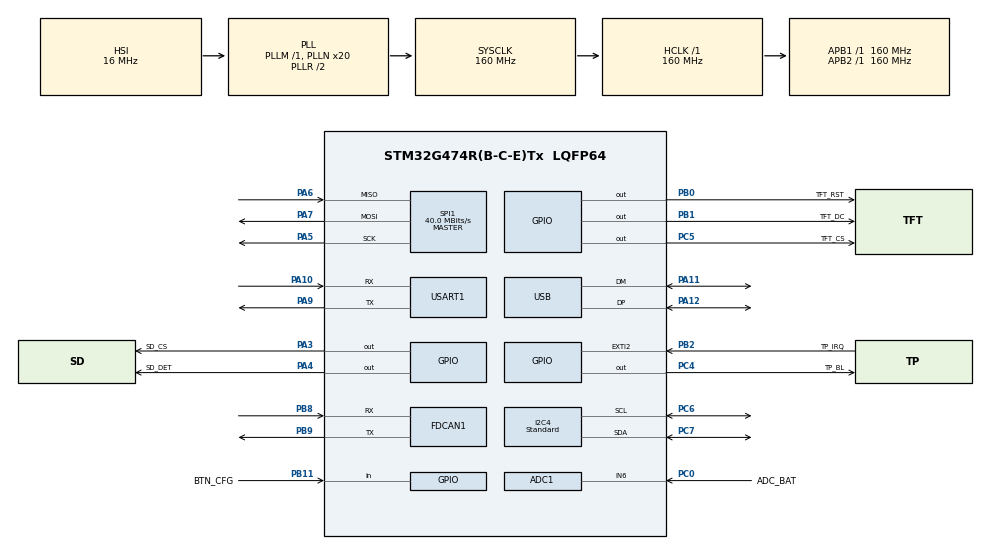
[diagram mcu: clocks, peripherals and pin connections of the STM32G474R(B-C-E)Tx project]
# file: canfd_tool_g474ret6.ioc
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ADC1.Channel-1\#ChannelRegularConversion=ADC_CHANNEL_6
ADC1.ClockPrescaler=ADC_CLOCK_SYNC_PCLK_DIV4
ADC1.NbrOfConversionFlag=1
ADC1.OffsetNumber-1\#ChannelRegularConversion=ADC_OFFSET_NONE
ADC1.Rank-1\#ChannelRegularConversion=1
ADC1.SamplingTime-1\#ChannelRegularConversion=ADC_SAMPLETIME_92CYCLES_5
ADC1.master=1
Dma.I2C4_RX.1.Direction=DMA_PERIPH_TO_MEMORY
Dma.I2C4_RX.1.EventEnable=DISABLE
Dma.I2C4_RX.1.Instance=DMA1_Channel2
Dma.I2C4_RX.1.MemDataAlignment=DMA_MDATAALIGN_BYTE
Dma.I2C4_RX.1.MemInc=DMA_MINC_ENABLE
Dma.I2C4_RX.1.Mode=DMA_NORMAL
Dma.I2C4_RX.1.PeriphDataAlignment=DMA_PDATAALIGN_BYTE
Dma.I2C4_RX.1.PeriphInc=DMA_PINC_DISABLE
Dma.I2C4_RX.1.Polarity=HAL_DMAMUX_REQ_GEN_RISING
Dma.I2C4_RX.1.Priority=DMA_PRIORITY_LOW
Dma.I2C4_RX.1.RequestNumber=1
Dma.I2C4_RX.1.SignalID=NONE
Dma.I2C4_RX.1.SyncEnable=DISABLE
Dma.I2C4_RX.1.SyncPolarity=HAL_DMAMUX_SYNC_NO_EVENT
Dma.I2C4_RX.1.SyncRequestNumber=1
Dma.I2C4_RX.1.SyncSignalID=NONE
Dma.I2C4_TX.2.Direction=DMA_MEMORY_TO_PERIPH
Dma.I2C4_TX.2.EventEnable=DISABLE
Dma.I2C4_TX.2.Instance=DMA1_Channel3
Dma.I2C4_TX.2.MemDataAlignment=DMA_MDATAALIGN_BYTE
Dma.I2C4_TX.2.MemInc=DMA_MINC_ENABLE
Dma.I2C4_TX.2.Mode=DMA_NORMAL
Dma.I2C4_TX.2.PeriphDataAlignment=DMA_PDATAALIGN_BYTE
Dma.I2C4_TX.2.PeriphInc=DMA_PINC_DISABLE
Dma.I2C4_TX.2.Polarity=HAL_DMAMUX_REQ_GEN_RISING
Dma.I2C4_TX.2.Priority=DMA_PRIORITY_VERY_HIGH
Dma.I2C4_TX.2.RequestNumber=1
Dma.I2C4_TX.2.SignalID=NONE
Dma.I2C4_TX.2.SyncEnable=DISABLE
Dma.I2C4_TX.2.SyncPolarity=HAL_DMAMUX_SYNC_NO_EVENT
Dma.I2C4_TX.2.SyncRequestNumber=1
Dma.I2C4_TX.2.SyncSignalID=NONE
Dma.Request0=SPI1_TX
Dma.Request1=I2C4_RX
Dma.Request2=I2C4_TX
Dma.SPI1_TX.0.Direction=DMA_MEMORY_TO_PERIPH
Dma.SPI1_TX.0.EventEnable=DISABLE
Dma.SPI1_TX.0.Instance=DMA1_Channel1
Dma.SPI1_TX.0.MemDataAlignment=DMA_MDATAALIGN_HALFWORD
Dma.SPI1_TX.0.MemInc=DMA_MINC_ENABLE
Dma.SPI1_TX.0.Mode=DMA_NORMAL
Dma.SPI1_TX.0.PeriphDataAlignment=DMA_PDATAALIGN_HALFWORD
Dma.SPI1_TX.0.PeriphInc=DMA_PINC_DISABLE
Dma.SPI1_TX.0.Polarity=HAL_DMAMUX_REQ_GEN_RISING
Dma.SPI1_TX.0.Priority=DMA_PRIORITY_VERY_HIGH
Dma.SPI1_TX.0.RequestNumber=1
Dma.SPI1_TX.0.SignalID=NONE
Dma.SPI1_TX.0.SyncEnable=DISABLE
Dma.SPI1_TX.0.SyncPolarity=HAL_DMAMUX_SYNC_NO_EVENT
Dma.SPI1_TX.0.SyncRequestNumber=1
Dma.SPI1_TX.0.SyncSignalID=NONE
FDCAN1.CalculateBaudRateNominal=500000
FDCAN1.CalculateTimeBitNominal=2000
FDCAN1.CalculateTimeQuantumNominal=125.0
FDCAN1.ClockDivider=FDCAN_CLOCK_DIV1
FDCAN1.DataSyncJumpWidth=1
FDCAN1.DataTimeSeg1=1
FDCAN1.ExtFiltersNbr=2
FDCAN1.FrameFormat=FDCAN_FRAME_CLASSIC
FDCAN1.NominalPrescaler=20
FDCAN1.NominalSyncJumpWidth=16
FDCAN1.NominalTimeSeg1=13
FDCAN1.NominalTimeSeg2=2
FDCAN1.StdFiltersNbr=2
I2C4.Analog_Filter=I2C_ANALOGFILTER_ENABLE
I2C4.CustomTiming=Disabled
I2C4.I2C_Fall_Time=100
I2C4.I2C_Rise_Time=100
I2C4.I2C_Speed_Mode=I2C_Standard
I2C4.Speed=100
I2C4.Timing=0x30D29DE4
Mcu.Family=STM32G4
Mcu.Name=STM32G474R(B-C-E)Tx
Mcu.Package=LQFP64
NVIC.DMA1_Channel1_IRQn=true\:0\:0\:false\:false\:true\:false\:true\:true
NVIC.DMA1_Channel2_IRQn=true\:0\:0\:false\:false\:true\:false\:true\:true
NVIC.DMA1_Channel3_IRQn=true\:0\:0\:false\:false\:true\:false\:true\:true
NVIC.EXTI2_IRQn=true\:0\:0\:false\:false\:true\:true\:true\:true
NVIC.FDCAN1_IT0_IRQn=true\:1\:0\:true\:false\:true\:true\:true\:true
NVIC.FDCAN1_IT1_IRQn=true\:0\:0\:false\:false\:true\:true\:true\:true
NVIC.I2C4_ER_IRQn=true\:0\:0\:false\:false\:true\:true\:true\:true
NVIC.I2C4_EV_IRQn=true\:0\:0\:false\:false\:true\:true\:true\:true
NVIC.PriorityGroup=NVIC_PRIORITYGROUP_4
NVIC.SPI1_IRQn=true\:0\:0\:true\:false\:true\:true\:true\:true
NVIC.USB_LP_IRQn=true\:0\:0\:false\:false\:true\:false\:true\:true
PA10.Mode=Asynchronous
PA10.Signal=USART1_RX
PA11.Mode=Device
PA11.Signal=USB_DM
PA12.Mode=Device
PA12.Signal=USB_DP
PA13.Signal=SYS_JTMS-SWDIO
PA14.Signal=SYS_JTCK-SWCLK
PA3.GPIO_Label=SD_CS
PA3.Signal=GPIO_Output
PA4.GPIO_Label=SD_DET
PA4.Signal=GPIO_Output
PA5.GPIO_PuPd=GPIO_PULLDOWN
PA5.GPIO_Speed=GPIO_SPEED_FREQ_VERY_HIGH
PA5.Mode=Full_Duplex_Master
PA5.Signal=SPI1_SCK
PA6.GPIO_PuPd=GPIO_PULLDOWN
PA6.GPIO_Speed=GPIO_SPEED_FREQ_VERY_HIGH
PA6.Mode=Full_Duplex_Master
PA6.Signal=SPI1_MISO
PA7.GPIO_PuPd=GPIO_PULLDOWN
PA7.GPIO_Speed=GPIO_SPEED_FREQ_VERY_HIGH
PA7.Mode=Full_Duplex_Master
PA7.Signal=SPI1_MOSI
PA9.Mode=Asynchronous
PA9.Signal=USART1_TX
PB0.GPIO_Label=TFT_RST
PB0.GPIO_PuPd=GPIO_PULLUP
PB0.PinState=GPIO_PIN_SET
PB0.Signal=GPIO_Output
PB1.GPIO_Label=TFT_DC
PB1.GPIO_Speed=GPIO_SPEED_FREQ_VERY_HIGH
PB1.PinState=GPIO_PIN_SET
PB1.Signal=GPIO_Output
PB11.GPIO_Label=BTN_CFG
PB11.GPIO_PuPd=GPIO_PULLUP
PB11.Signal=GPIO_Input
PB2.GPIO_Label=TP_IRQ
PB2.GPIO_ModeDefaultEXTI=GPIO_MODE_IT_FALLING
PB2.GPIO_PuPd=GPIO_PULLUP
PB2.Signal=GPXTI2
PB3.Signal=SYS_JTDO-SWO
PB5.Signal=FDCAN2_RX
PB6.Signal=FDCAN2_TX
PB8-BOOT0.GPIO_FM8=__NULL
PB8-BOOT0.GPIO_PuPd=GPIO_NOPULL
PB8-BOOT0.GPIO_Speed=GPIO_SPEED_FREQ_VERY_HIGH
PB8-BOOT0.Mode=FDCAN_Activate
PB8-BOOT0.Signal=FDCAN1_RX
PB9.GPIO_Speed=GPIO_SPEED_FREQ_VERY_HIGH
PB9.Mode=FDCAN_Activate
PB9.Signal=FDCAN1_TX
PC0.GPIO_Label=ADC_BAT
PC0.Mode=IN6-Single-Ended
PC0.Signal=ADC1_IN6
PC4.GPIO_Label=TP_BL
PC4.Signal=GPIO_Output
PC5.GPIO_Label=TFT_CS
PC5.GPIO_Speed=GPIO_SPEED_FREQ_VERY_HIGH
PC5.Signal=GPIO_Output
PC6.GPIO_Pu=GPIO_NOPULL
PC6.GPIO_Speed=GPIO_SPEED_FREQ_HIGH
PC6.Mode=I2C
PC6.Signal=I2C4_SCL
PC7.GPIO_Pu=GPIO_NOPULL
PC7.GPIO_Speed=GPIO_SPEED_FREQ_HIGH
PC7.Mode=I2C
PC7.Signal=I2C4_SDA
PC8.Signal=I2C3_SCL
PC9.Signal=I2C3_SDA
PF0-OSC_IN.Mode=HSE-External-Oscillator
PF0-OSC_IN.Signal=RCC_OSC_IN
PF1-OSC_OUT.Mode=HSE-External-Oscillator
PF1-OSC_OUT.Signal=RCC_OSC_OUT
PG10-NRST.GPIO_Label=NRST
PG10-NRST.Signal=EVENTOUT
ProjectManager.HeapSize=0x200
ProjectManager.StackSize=0x400
ProjectManager.TargetToolchain=STM32CubeIDE
RCC.ADC12Freq_Value=160000000
RCC.ADC345Freq_Value=160000000
RCC.AHBFreq_Value=160000000
RCC.APB1Freq_Value=160000000
RCC.APB1TimFreq_Value=160000000
RCC.APB2Freq_Value=160000000
RCC.APB2TimFreq_Value=160000000
RCC.CK48CLockSelection=RCC_USBCLKSOURCE_HSI48
RCC.CortexFreq_Value=160000000
RCC.EXTERNAL_CLOCK_VALUE=12288000
RCC.HCLKFreq_Value=160000000
RCC.HSE_VALUE=24000000
RCC.HSI48_VALUE=48000000
RCC.HSI_VALUE=16000000
RCC.LSE_VALUE=32768
RCC.PLLN=20
RCC.PLLQ=RCC_PLLQ_DIV8
RCC.SYSCLKFreq_VALUE=160000000
RCC.SYSCLKSource=RCC_SYSCLKSOURCE_PLLCLK
RCC.USBFreq_Value=48000000
RCC.VCOOutputFreq_Value=320000000
SPI1.BaudRatePrescaler=SPI_BAUDRATEPRESCALER_4
SPI1.CLKPhase=SPI_PHASE_1EDGE
SPI1.CLKPolarity=SPI_POLARITY_LOW
SPI1.CRCCalculation=SPI_CRCCALCULATION_DISABLE
SPI1.CalculateBaudRate=40.0 MBits/s
SPI1.DataSize=SPI_DATASIZE_16BIT
SPI1.Direction=SPI_DIRECTION_2LINES
SPI1.Mode=SPI_MODE_MASTER
SPI1.VirtualType=VM_MASTER
USART1.VirtualMode-Asynchronous=VM_ASYNC
USB.Sof_enable=ENABLE
USB_DEVICE.CLASS_NAME_FS=CDC
USB_DEVICE.MANUFACTURER_STRING=controlXic
USB_DEVICE.USBD_SELF_POWERED=1
USB_DEVICE.VirtualMode=Cdc
USB_DEVICE.VirtualModeFS=Cdc_FS
VP_SYS_VS_DBSignals.Mode=DisableDeadBatterySignals
VP_USB_DEVICE_VS_USB_DEVICE_CDC_FS.Mode=CDC_FS
board=custom

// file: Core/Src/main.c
/* USER CODE BEGIN Header */
/**
  ******************************************************************************
  * @file           : main.c
  * @brief          : Main program body
  ******************************************************************************
  * @attention
  *
  * Copyright (c) 2025 STMicroelectronics.
  * All rights reserved.
  *
  * This software is licensed under terms that can be found in the LICENSE file
  * in the root directory of this software component.
  * If no LICENSE file comes with this software, it is provided AS-IS.
  *
  ******************************************************************************
  */
/* USER CODE END Header */
#include "main.h"
#include "usb_device.h"

/* USER CODE BEGIN Includes */
//#include "ili9486.h"
#include "stdio.h"
#include "usbd_cdc_if.h"
#include "st7796s.h"
#include "lvgl.h"
#include "main_system.h"
#include "main_window.h"
#include "can_rx.h"
#include "stm32g4xx_hal_fdcan.h"
/* USER CODE END Includes */

ADC_HandleTypeDef hadc1;

FDCAN_HandleTypeDef hfdcan1;

I2C_HandleTypeDef hi2c4;
DMA_HandleTypeDef hdma_i2c4_rx;
DMA_HandleTypeDef hdma_i2c4_tx;

SPI_HandleTypeDef hspi1;
DMA_HandleTypeDef hdma_spi1_tx;

UART_HandleTypeDef huart1;

/* USER CODE BEGIN PV */

// Time vars //
extern uint32_t millis;
extern uint32_t rxTimeoutMillis;

extern uint32_t sleepMillis;

// Confgi vars //
extern bool staticMode;
bool msgRxSleepFlg = false;

// CDC vars //
uint32_t cdcRxData[30][80];
uint8_t strCdc[100];

// USART vars //
uint8_t usartLines = 30;
uint8_t rowCnt = 1;
uint32_t rowCntOld = 0;
uint32_t rowCntFull = 1;

// Touch vars //
bool touchFlg = false;

// CAN vars //
FDCAN_TxHeaderTypeDef TxHeader1;
FDCAN_RxHeaderTypeDef RxHeader1;
FDCAN_ProtocolStatusTypeDef fdcanStatus;
uint8_t can1RxData1[8];
uint32_t rxFramesCnt = 0;
bool rxCanFlg = false;
bool rxTimeoutFlg = false;

// Busload time vars //
#define STD_FIXED_BITS 55 // Reals = 47 b/f (dlc = 0)
float oneSeconBitsCan1 = 0;
uint16_t frameBitsCan1 = 0;
uint8_t busLoadBitRate = 20;

// Flow vars //
bool initFlg = true;
extern bool touchSleepFlg;

// LVGL vars //
extern lv_obj_t * tabview;
extern lv_obj_t * uartRxTable;

// test vars //
uint32_t errorCode = 0;
bool errorFlag = false;

/* USER CODE END PV */

void SystemClock_Config(void);
static void MX_GPIO_Init(void);
static void MX_DMA_Init(void);
static void MX_SPI1_Init(void);
static void MX_USART1_UART_Init(void);
static void MX_ADC1_Init(void);
static void MX_FDCAN1_Init(void);
static void MX_I2C4_Init(void);
/* USER CODE BEGIN PFP */

//extern uint8_t CDC_Transmit_FS(uint8_t*, uint16_t);
//extern int8_t CDC_Receive_FS_Global(uint8_t*, uint32_t);

/* USER CODE END PFP */

/* USER CODE BEGIN 0 */

//////////////////////////////////////////////////////////////////////////
// CDC write-read
//////////////////////////////////////////////////////////////////////////

void usb_print(char mytext[])
{
	CDC_Transmit_FS((uint8_t*)mytext,strlen(mytext));
	//HAL_Delay(10);
}

void USB_CDC_RxHandler(uint8_t* cdcBuf, uint32_t len)
{

	if(lv_tabview_get_tab_active(tabview) == 2)
	{
		if(cdcBuf[0] != 0)
		{
			if(rowCnt >= usartLines)
				rowCnt = 1;

//			memcpy(cdcRxData[rowCnt], "", 80);
//			memcpy(cdcRxData[rowCnt], buf, 80);

			memset(cdcRxData[rowCnt], '\0', 80);
			strcat(cdcRxData[rowCnt], "RX:  ");
			strcat(cdcRxData[rowCnt], cdcBuf);

			cdcRxData[rowCnt][78] = rowCnt;
			cdcRxData[rowCnt][79] = rowCntFull;

			rowCnt++;
			rowCntFull++;
			msgRxSleepFlg = true;
		}
	}
	else
	{
		// Apply read cmd //
		switch(cdcBuf[0])
		{
			case '0':
				usb_print("\r\ncontrolXic");
			break;

			case '1':

			break;

			case '2':

			break;

			case '3':

			break;

			case '4':

			break;
		}
	}
	memset(cdcBuf, '\0', 80);
}

//////////////////////////////////////////////////////////////////////////
// LvGL LOG
//////////////////////////////////////////////////////////////////////////

void my_log_cb(lv_log_level_t level, const char * buf)
{
	CDC_Transmit_FS(buf, strlen(buf));
	HAL_Delay(10);
}

//////////////////////////////////////////////////////////////////////////
// CAN Read - Write Interrupts
//////////////////////////////////////////////////////////////////////////

void HAL_FDCAN_ErrorStatusCallback(FDCAN_HandleTypeDef *hfdcan, uint32_t ErrorStatusITs)
{

	if(ErrorStatusITs & FDCAN_IT_ERROR_WARNING)
	{
		error_msgbox("FDCAN_IT_ERROR_WARNING");
	}

	if(ErrorStatusITs & FDCAN_IT_ERROR_PASSIVE)
	{
		error_msgbox("FDCAN_IT_ERROR_PASSIVE");
	}

	if(ErrorStatusITs & FDCAN_IT_BUS_OFF)
	{
//		sprintf(strCdc, "\n\r FDCAN_IT_BUS_OFF ERROR: %X ", ErrorStatusITs);
//		usb_print(strCdc);
	}
}

void HAL_FDCAN_TxEventFifoCallback(FDCAN_HandleTypeDef *hfdcan, uint32_t TxEventFifoITs)
{
//	usb_print("\n\rFDCAN_IT_TX_EVT_FIFO_NEW_DATA");

//	if((TxEventFifoITs & FDCAN_IT_TX_EVT_FIFO_NEW_DATA) != RESET)
//	{
//		usb_print("\n\rFDCAN_IT_TX_EVT_FIFO_NEW_DATA");
//		HAL_FDCAN_ActivateNotification(&hfdcan1, FDCAN_IT_TX_EVT_FIFO_NEW_DATA, 0);
//	}
}

void HAL_FDCAN_TxFifoEmptyCallback(FDCAN_HandleTypeDef *hfdcan)
{
	usb_print("\n\rFDCAN_IT_TX_FIFO_EMPTY");
}

//////////////////////////////////////////////////////////////////////////
// CAN Read Callback
//////////////////////////////////////////////////////////////////////////

void HAL_FDCAN_RxFifo0Callback(FDCAN_HandleTypeDef *hfdcan, uint32_t RxFifo0ITs)
{
	if((RxFifo0ITs & FDCAN_IT_RX_FIFO0_NEW_MESSAGE) != RESET)
	{
	    if (HAL_FDCAN_GetRxMessage(hfdcan, FDCAN_RX_FIFO0, &RxHeader1, can1RxData1) != HAL_OK)
	    {
	    	Error_Handler();
	    }
		if (HAL_FDCAN_ActivateNotification(hfdcan, FDCAN_IT_RX_FIFO0_NEW_MESSAGE, 0) != HAL_OK)
	    {
			Error_Handler();
	    }
		// count frames //
		rxFramesCnt++;

        // Busload bit count //
        frameBitsCan1 = STD_FIXED_BITS + (RxHeader1.DataLength * 8);
        oneSeconBitsCan1 = oneSeconBitsCan1 + frameBitsCan1;

		// save on can rx buffer //
		if((initFlg == false) /*&& (lv_tabview_get_tab_active(tabview) == 0)*/)
		{
			rxCanFlg = true;
			msgRxSleepFlg = true;
			rxTimeoutFlg = true;
			rxTimeoutMillis = millis;

			  if(staticMode)
				  save_rx_buf_static(RxHeader1.Identifier, RxHeader1.DataLength, can1RxData1);
			  else
				  save_rx_buf_dinamic(RxHeader1.Identifier, RxHeader1.DataLength, can1RxData1);
		}
	}
}

//////////////////////////////////////////////////////////////////////////
// CAN bit rate config (kbit/s)
//////////////////////////////////////////////////////////////////////////

void FDCAN1_bit_rate_config(uint8_t bitRate)
{
	busLoadBitRate = bitRate;

	hfdcan1.Instance = FDCAN1;
	hfdcan1.Init.ClockDivider = FDCAN_CLOCK_DIV1;
	hfdcan1.Init.FrameFormat = FDCAN_FRAME_CLASSIC;
	hfdcan1.Init.Mode = FDCAN_MODE_NORMAL;
	hfdcan1.Init.AutoRetransmission = DISABLE;
	hfdcan1.Init.TransmitPause = DISABLE;
	hfdcan1.Init.ProtocolException = DISABLE;
	hfdcan1.Init.NominalPrescaler = bitRate;
	hfdcan1.Init.NominalSyncJumpWidth = 16;
	hfdcan1.Init.NominalTimeSeg1 = 13;
	hfdcan1.Init.NominalTimeSeg2 = 2;
	hfdcan1.Init.DataPrescaler = 1;
	hfdcan1.Init.DataSyncJumpWidth = 1;
	hfdcan1.Init.DataTimeSeg1 = 1;
	hfdcan1.Init.DataTimeSeg2 = 1;
	hfdcan1.Init.StdFiltersNbr = 2;
	hfdcan1.Init.ExtFiltersNbr = 2;
	hfdcan1.Init.TxFifoQueueMode = FDCAN_TX_FIFO_OPERATION;

	if (HAL_FDCAN_Init(&hfdcan1) != HAL_OK)
	{
		Error_Handler();
	}
}

//////////////////////////////////////////////////////////////////////////
// CAN Filters config
//////////////////////////////////////////////////////////////////////////

void FDCAN_config_filters(uint32_t F1, uint32_t F2, uint32_t F3, uint32_t F4)
{
	// Apagar CAN bus //
	if (HAL_FDCAN_Stop(&hfdcan1) != HAL_OK)
	{
	  Error_Handler();
	}

	// Si un Filtre es configurat habilita filtres //
	if(F1 > 0x00 || F2 > 0x00 || F3 > 0x00 || F4 > 0x00)
	{
		// Configure Rx filter //
		FDCAN_FilterTypeDef sFilterConfig;

		sFilterConfig.IdType = FDCAN_STANDARD_ID;
		sFilterConfig.FilterIndex = 0;
		sFilterConfig.FilterType = FDCAN_FILTER_DUAL;
		sFilterConfig.FilterConfig = FDCAN_FILTER_TO_RXFIFO0;

		if(F1 <= 0x7FF)
			sFilterConfig.FilterID1 = F1;
		else
			sFilterConfig.FilterID1 = 0x00;

		if(F2 <= 0x7FF)
			sFilterConfig.FilterID2 = F2;
		else
			sFilterConfig.FilterID2 = 0x00;

		if(HAL_FDCAN_ConfigFilter(&hfdcan1, &sFilterConfig) != HAL_OK)
		{
			  Error_Handler();
		}

		sFilterConfig.IdType = FDCAN_STANDARD_ID;
		sFilterConfig.FilterIndex = 1;
		sFilterConfig.FilterType = FDCAN_FILTER_DUAL;
		sFilterConfig.FilterConfig = FDCAN_FILTER_TO_RXFIFO0;

		if(F3 <= 0x7FF)
			sFilterConfig.FilterID1 = F3;
		else
			sFilterConfig.FilterID1 = 0x00;

		if(F4 <= 0x7FF)
			sFilterConfig.FilterID2 = F4;
		else
			sFilterConfig.FilterID2 = 0x00;

		if(HAL_FDCAN_ConfigFilter(&hfdcan1, &sFilterConfig) != HAL_OK)
		{
			  Error_Handler();
		}

		sFilterConfig.IdType = FDCAN_EXTENDED_ID;
		sFilterConfig.FilterIndex = 0;
		sFilterConfig.FilterType = FDCAN_FILTER_DUAL;
		sFilterConfig.FilterConfig = FDCAN_FILTER_TO_RXFIFO0;

		if(F1 > 0x7FF)
			sFilterConfig.FilterID1 = F1;
		else
			sFilterConfig.FilterID1 = 0x00;

		if(F2 > 0x7FF)
			sFilterConfig.FilterID2 = F2;
		else
			sFilterConfig.FilterID2 = 0x00;

		if(HAL_FDCAN_ConfigFilter(&hfdcan1, &sFilterConfig) != HAL_OK)
		{
			  Error_Handler();
		}

		sFilterConfig.IdType = FDCAN_EXTENDED_ID;
		sFilterConfig.FilterIndex = 1;
		sFilterConfig.FilterType = FDCAN_FILTER_DUAL;
		sFilterConfig.FilterConfig = FDCAN_FILTER_TO_RXFIFO0;

		if(F3 > 0x7FF)
			sFilterConfig.FilterID1 = F3;
		else
			sFilterConfig.FilterID1 = 0x00;

		if(F4 > 0x7FF)
			sFilterConfig.FilterID2 = F4;
		else
			sFilterConfig.FilterID2 = 0x00;

		if(HAL_FDCAN_ConfigFilter(&hfdcan1, &sFilterConfig) != HAL_OK)
		{
			  Error_Handler();
		}

		if(HAL_FDCAN_ConfigGlobalFilter(&hfdcan1, FDCAN_REJECT, FDCAN_REJECT, FDCAN_REJECT_REMOTE, FDCAN_REJECT_REMOTE) != HAL_OK)
		{
			  Error_Handler();
		}
	}

	// Deshabilita  filtres //
	else
	{

//		usb_print( "Deshabilita  filtres");

		FDCAN_FilterTypeDef sFilterConfig;

		for(int i = 0; i < 2; i++)
		{
			sFilterConfig.IdType = FDCAN_STANDARD_ID;
			sFilterConfig.FilterIndex = i;
			sFilterConfig.FilterType = FDCAN_FILTER_DUAL;
			sFilterConfig.FilterConfig = FDCAN_FILTER_DISABLE;
			sFilterConfig.FilterID1 = 0x00;
			sFilterConfig.FilterID2 = 0x00;

			if(HAL_FDCAN_ConfigFilter(&hfdcan1, &sFilterConfig) != HAL_OK)
			{
				  Error_Handler();
			}

			sFilterConfig.IdType = FDCAN_EXTENDED_ID;
			sFilterConfig.FilterIndex = i;
			sFilterConfig.FilterType = FDCAN_FILTER_DUAL;
			sFilterConfig.FilterConfig = FDCAN_FILTER_DISABLE;
			sFilterConfig.FilterID1 = 0x00;
			sFilterConfig.FilterID2 = 0x00;

			if(HAL_FDCAN_ConfigFilter(&hfdcan1, &sFilterConfig) != HAL_OK)
			{
				  Error_Handler();
			}
		}
		if(HAL_FDCAN_ConfigGlobalFilter(&hfdcan1, FDCAN_ACCEPT_IN_RX_FIFO0, FDCAN_ACCEPT_IN_RX_FIFO0, FDCAN_ACCEPT_IN_RX_FIFO0, FDCAN_ACCEPT_IN_RX_FIFO0) != HAL_OK)
		{
			  Error_Handler();
		}
	}

	// Inicia CAN bus //
	if (HAL_FDCAN_Start(&hfdcan1) != HAL_OK)
	{
		Error_Handler();
	}
}

//////////////////////////////////////////////////////////////////////////
// SPI TX Interrupt
//////////////////////////////////////////////////////////////////////////

void HAL_SPI_TxCpltCallback(SPI_HandleTypeDef *hspi)
{
}

//////////////////////////////////////////////////////////////////////////
// GPIO External Interrupt for touchscreen
//////////////////////////////////////////////////////////////////////////

void HAL_GPIO_EXTI_Callback(uint16_t GPIO_Pin)
{
	if(GPIO_Pin == TP_IRQ_Pin )
	{
		// Touch external interrupt //
		touchFlg = true;
	}
}

/* USER CODE END 0 */

int main(void)
{

  /* MCU Configuration--------------------------------------------------------*/

  /* Reset of all peripherals, Initializes the Flash interface and the Systick. */
  HAL_Init();

  /* Configure the system clock */
  SystemClock_Config();

  /* Initialize all configured peripherals */
  MX_GPIO_Init();
  MX_DMA_Init();
  MX_SPI1_Init();
  MX_USART1_UART_Init();
  MX_USB_Device_Init();
  MX_ADC1_Init();
  MX_FDCAN1_Init();
  MX_I2C4_Init();
  /* USER CODE BEGIN 2 */

//  HAL_ADCEx_Calibration_Start(&hadc1);

  // lvgl init //
  lv_init();

  // Display init //
  tft_init();
  tft_setRotation(1);
  tp_init();

  // show init logo //
  init_logo();

//  // log lvgl debug //
//  lv_log_register_print_cb(my_log_cb);

  usb_print("\r\n ******************** Control Xic ******************** \n\r");
//  sprintf(strCdc, "\n\r %d - %d - %d", millis, tp_x, tp_y);
//  usb_print(strCdc);
//	HAL_Delay(500);

  /* USER CODE END 2 */

  /* Infinite loop */
  /* USER CODE BEGIN WHILE */
  while(1)
  {
	  //////////////////////////////////////////////////////////////////////////
	  // LVG internal tasks //
	  //////////////////////////////////////////////////////////////////////////
	  lv_timer_handler();

	  //////////////////////////////////////////////////////////////////////////
	  // Work Flow, Display print, timeouts, ... //
	  //////////////////////////////////////////////////////////////////////////
	  main_task();

    /* USER CODE END WHILE */

  }
}

void SystemClock_Config(void)
{
  RCC_OscInitTypeDef RCC_OscInitStruct = {0};
  RCC_ClkInitTypeDef RCC_ClkInitStruct = {0};

  /** Configure the main internal regulator output voltage
  */
  HAL_PWREx_ControlVoltageScaling(PWR_REGULATOR_VOLTAGE_SCALE1_BOOST);

  /** Initializes the RCC Oscillators according to the specified parameters
  * in the RCC_OscInitTypeDef structure.
  */
  RCC_OscInitStruct.OscillatorType = RCC_OSCILLATORTYPE_HSI|RCC_OSCILLATORTYPE_HSI48;
  RCC_OscInitStruct.HSIState = RCC_HSI_ON;
  RCC_OscInitStruct.HSICalibrationValue = RCC_HSICALIBRATION_DEFAULT;
  RCC_OscInitStruct.HSI48State = RCC_HSI48_ON;
  RCC_OscInitStruct.PLL.PLLState = RCC_PLL_ON;
  RCC_OscInitStruct.PLL.PLLSource = RCC_PLLSOURCE_HSI;
  RCC_OscInitStruct.PLL.PLLM = RCC_PLLM_DIV1;
  RCC_OscInitStruct.PLL.PLLN = 20;
  RCC_OscInitStruct.PLL.PLLP = RCC_PLLP_DIV2;
  RCC_OscInitStruct.PLL.PLLQ = RCC_PLLQ_DIV8;
  RCC_OscInitStruct.PLL.PLLR = RCC_PLLR_DIV2;
  if (HAL_RCC_OscConfig(&RCC_OscInitStruct) != HAL_OK)
  {
    Error_Handler();
  }

  /** Initializes the CPU, AHB and APB buses clocks
  */
  RCC_ClkInitStruct.ClockType = RCC_CLOCKTYPE_HCLK|RCC_CLOCKTYPE_SYSCLK
                              |RCC_CLOCKTYPE_PCLK1|RCC_CLOCKTYPE_PCLK2;
  RCC_ClkInitStruct.SYSCLKSource = RCC_SYSCLKSOURCE_PLLCLK;
  RCC_ClkInitStruct.AHBCLKDivider = RCC_SYSCLK_DIV1;
  RCC_ClkInitStruct.APB1CLKDivider = RCC_HCLK_DIV1;
  RCC_ClkInitStruct.APB2CLKDivider = RCC_HCLK_DIV1;

  if (HAL_RCC_ClockConfig(&RCC_ClkInitStruct, FLASH_LATENCY_4) != HAL_OK)
  {
    Error_Handler();
  }
}

static void MX_ADC1_Init(void)
{

  ADC_MultiModeTypeDef multimode = {0};
  ADC_ChannelConfTypeDef sConfig = {0};

  /** Common config
  */
  hadc1.Instance = ADC1;
  hadc1.Init.ClockPrescaler = ADC_CLOCK_SYNC_PCLK_DIV4;
  hadc1.Init.Resolution = ADC_RESOLUTION_12B;
  hadc1.Init.DataAlign = ADC_DATAALIGN_RIGHT;
  hadc1.Init.GainCompensation = 0;
  hadc1.Init.ScanConvMode = ADC_SCAN_DISABLE;
  hadc1.Init.EOCSelection = ADC_EOC_SINGLE_CONV;
  hadc1.Init.LowPowerAutoWait = DISABLE;
  hadc1.Init.ContinuousConvMode = DISABLE;
  hadc1.Init.NbrOfConversion = 1;
  hadc1.Init.DiscontinuousConvMode = DISABLE;
  hadc1.Init.ExternalTrigConv = ADC_SOFTWARE_START;
  hadc1.Init.ExternalTrigConvEdge = ADC_EXTERNALTRIGCONVEDGE_NONE;
  hadc1.Init.DMAContinuousRequests = DISABLE;
  hadc1.Init.Overrun = ADC_OVR_DATA_PRESERVED;
  hadc1.Init.OversamplingMode = DISABLE;
  if (HAL_ADC_Init(&hadc1) != HAL_OK)
  {
    Error_Handler();
  }

  /** Configure the ADC multi-mode
  */
  multimode.Mode = ADC_MODE_INDEPENDENT;
  if (HAL_ADCEx_MultiModeConfigChannel(&hadc1, &multimode) != HAL_OK)
  {
    Error_Handler();
  }

  /** Configure Regular Channel
  */
  sConfig.Channel = ADC_CHANNEL_6;
  sConfig.Rank = ADC_REGULAR_RANK_1;
  sConfig.SamplingTime = ADC_SAMPLETIME_92CYCLES_5;
  sConfig.SingleDiff = ADC_SINGLE_ENDED;
  sConfig.OffsetNumber = ADC_OFFSET_NONE;
  sConfig.Offset = 0;
  if (HAL_ADC_ConfigChannel(&hadc1, &sConfig) != HAL_OK)
  {
    Error_Handler();
  }

}

static void MX_FDCAN1_Init(void)
{

  hfdcan1.Instance = FDCAN1;
  hfdcan1.Init.ClockDivider = FDCAN_CLOCK_DIV1;
  hfdcan1.Init.FrameFormat = FDCAN_FRAME_CLASSIC;
  hfdcan1.Init.Mode = FDCAN_MODE_NORMAL;
  hfdcan1.Init.AutoRetransmission = DISABLE;
  hfdcan1.Init.TransmitPause = DISABLE;
  hfdcan1.Init.ProtocolException = DISABLE;
  hfdcan1.Init.NominalPrescaler = 20;
  hfdcan1.Init.NominalSyncJumpWidth = 16;
  hfdcan1.Init.NominalTimeSeg1 = 13;
  hfdcan1.Init.NominalTimeSeg2 = 2;
  hfdcan1.Init.DataPrescaler = 1;
  hfdcan1.Init.DataSyncJumpWidth = 1;
  hfdcan1.Init.DataTimeSeg1 = 1;
  hfdcan1.Init.DataTimeSeg2 = 1;
  hfdcan1.Init.StdFiltersNbr = 2;
  hfdcan1.Init.ExtFiltersNbr = 2;
  hfdcan1.Init.TxFifoQueueMode = FDCAN_TX_FIFO_OPERATION;
  if (HAL_FDCAN_Init(&hfdcan1) != HAL_OK)
  {
    Error_Handler();
  }
  /* USER CODE BEGIN FDCAN1_Init 2 */

  // START FDCAN bus //
  if (HAL_FDCAN_Start(&hfdcan1) != HAL_OK)
  {
	  Error_Handler();
  }
  if (HAL_FDCAN_ActivateNotification(&hfdcan1, FDCAN_IT_RX_FIFO0_NEW_MESSAGE, 0) != HAL_OK)
  {
	  Error_Handler();
  }
  if (HAL_FDCAN_ActivateNotification(&hfdcan1, FDCAN_IT_TX_EVT_FIFO_NEW_DATA /*| FDCAN_IT_TX_FIFO_EMPTY*/, 0) != HAL_OK)
  {
	  Error_Handler();
  }
  if (HAL_FDCAN_ActivateNotification(&hfdcan1, FDCAN_IT_ERROR_WARNING | FDCAN_IT_ERROR_PASSIVE | FDCAN_IT_BUS_OFF, 0) != HAL_OK)
  {
	  Error_Handler();
  }

  /* USER CODE END FDCAN1_Init 2 */

}

static void MX_I2C4_Init(void)
{

  hi2c4.Instance = I2C4;
  hi2c4.Init.Timing = 0x30D29DE4;
  hi2c4.Init.OwnAddress1 = 0;
  hi2c4.Init.AddressingMode = I2C_ADDRESSINGMODE_7BIT;
  hi2c4.Init.DualAddressMode = I2C_DUALADDRESS_DISABLE;
  hi2c4.Init.OwnAddress2 = 0;
  hi2c4.Init.OwnAddress2Masks = I2C_OA2_NOMASK;
  hi2c4.Init.GeneralCallMode = I2C_GENERALCALL_DISABLE;
  hi2c4.Init.NoStretchMode = I2C_NOSTRETCH_DISABLE;
  if (HAL_I2C_Init(&hi2c4) != HAL_OK)
  {
    Error_Handler();
  }

  /** Configure Analogue filter
  */
  if (HAL_I2CEx_ConfigAnalogFilter(&hi2c4, I2C_ANALOGFILTER_ENABLE) != HAL_OK)
  {
    Error_Handler();
  }

  /** Configure Digital filter
  */
  if (HAL_I2CEx_ConfigDigitalFilter(&hi2c4, 0) != HAL_OK)
  {
    Error_Handler();
  }

}

static void MX_SPI1_Init(void)
{

  /* SPI1 parameter configuration*/
  hspi1.Instance = SPI1;
  hspi1.Init.Mode = SPI_MODE_MASTER;
  hspi1.Init.Direction = SPI_DIRECTION_2LINES;
  hspi1.Init.DataSize = SPI_DATASIZE_16BIT;
  hspi1.Init.CLKPolarity = SPI_POLARITY_LOW;
  hspi1.Init.CLKPhase = SPI_PHASE_1EDGE;
  hspi1.Init.NSS = SPI_NSS_SOFT;
  hspi1.Init.BaudRatePrescaler = SPI_BAUDRATEPRESCALER_4;
  hspi1.Init.FirstBit = SPI_FIRSTBIT_MSB;
  hspi1.Init.TIMode = SPI_TIMODE_DISABLE;
  hspi1.Init.CRCCalculation = SPI_CRCCALCULATION_DISABLE;
  hspi1.Init.CRCPolynomial = 7;
  hspi1.Init.CRCLength = SPI_CRC_LENGTH_DATASIZE;
  hspi1.Init.NSSPMode = SPI_NSS_PULSE_ENABLE;
  if (HAL_SPI_Init(&hspi1) != HAL_OK)
  {
    Error_Handler();
  }

}

static void MX_USART1_UART_Init(void)
{

  huart1.Instance = USART1;
  huart1.Init.BaudRate = 115200;
  huart1.Init.WordLength = UART_WORDLENGTH_8B;
  huart1.Init.StopBits = UART_STOPBITS_1;
  huart1.Init.Parity = UART_PARITY_NONE;
  huart1.Init.Mode = UART_MODE_TX_RX;
  huart1.Init.HwFlowCtl = UART_HWCONTROL_NONE;
  huart1.Init.OverSampling = UART_OVERSAMPLING_16;
  huart1.Init.OneBitSampling = UART_ONE_BIT_SAMPLE_DISABLE;
  huart1.Init.ClockPrescaler = UART_PRESCALER_DIV1;
  huart1.AdvancedInit.AdvFeatureInit = UART_ADVFEATURE_NO_INIT;
  if (HAL_UART_Init(&huart1) != HAL_OK)
  {
    Error_Handler();
  }
  if (HAL_UARTEx_SetTxFifoThreshold(&huart1, UART_TXFIFO_THRESHOLD_1_8) != HAL_OK)
  {
    Error_Handler();
  }
  if (HAL_UARTEx_SetRxFifoThreshold(&huart1, UART_RXFIFO_THRESHOLD_1_8) != HAL_OK)
  {
    Error_Handler();
  }
  if (HAL_UARTEx_DisableFifoMode(&huart1) != HAL_OK)
  {
    Error_Handler();
  }

}

static void MX_DMA_Init(void)
{

  /* DMA controller clock enable */
  __HAL_RCC_DMAMUX1_CLK_ENABLE();
  __HAL_RCC_DMA1_CLK_ENABLE();

  /* DMA interrupt init */
  /* DMA1_Channel1_IRQn interrupt configuration */
  HAL_NVIC_SetPriority(DMA1_Channel1_IRQn, 0, 0);
  HAL_NVIC_EnableIRQ(DMA1_Channel1_IRQn);
  /* DMA1_Channel2_IRQn interrupt configuration */
  HAL_NVIC_SetPriority(DMA1_Channel2_IRQn, 0, 0);
  HAL_NVIC_EnableIRQ(DMA1_Channel2_IRQn);
  /* DMA1_Channel3_IRQn interrupt configuration */
  HAL_NVIC_SetPriority(DMA1_Channel3_IRQn, 0, 0);
  HAL_NVIC_EnableIRQ(DMA1_Channel3_IRQn);

}

static void MX_GPIO_Init(void)
{
  GPIO_InitTypeDef GPIO_InitStruct = {0};

  /* GPIO Ports Clock Enable */
  __HAL_RCC_GPIOF_CLK_ENABLE();
  __HAL_RCC_GPIOG_CLK_ENABLE();
  __HAL_RCC_GPIOC_CLK_ENABLE();
  __HAL_RCC_GPIOA_CLK_ENABLE();
  __HAL_RCC_GPIOB_CLK_ENABLE();

  /*Configure GPIO pin Output Level */
  HAL_GPIO_WritePin(GPIOA, SD_CS_Pin|SD_DET_Pin, GPIO_PIN_RESET);

  /*Configure GPIO pin Output Level */
  HAL_GPIO_WritePin(GPIOC, TP_BL_Pin|TFT_CS_Pin, GPIO_PIN_RESET);

  /*Configure GPIO pin Output Level */
  HAL_GPIO_WritePin(GPIOB, TFT_RST_Pin|TFT_DC_Pin, GPIO_PIN_SET);

  /*Configure GPIO pin : NRST_Pin */
  GPIO_InitStruct.Pin = NRST_Pin;
  GPIO_InitStruct.Mode = GPIO_MODE_AF_PP;
  GPIO_InitStruct.Pull = GPIO_NOPULL;
  GPIO_InitStruct.Speed = GPIO_SPEED_FREQ_LOW;
  GPIO_InitStruct.Alternate = GPIO_AF15_EVENTOUT;
  HAL_GPIO_Init(NRST_GPIO_Port, &GPIO_InitStruct);

  /*Configure GPIO pins : SD_CS_Pin SD_DET_Pin */
  GPIO_InitStruct.Pin = SD_CS_Pin|SD_DET_Pin;
  GPIO_InitStruct.Mode = GPIO_MODE_OUTPUT_PP;
  GPIO_InitStruct.Pull = GPIO_NOPULL;
  GPIO_InitStruct.Speed = GPIO_SPEED_FREQ_LOW;
  HAL_GPIO_Init(GPIOA, &GPIO_InitStruct);

  /*Configure GPIO pin : TP_BL_Pin */
  GPIO_InitStruct.Pin = TP_BL_Pin;
  GPIO_InitStruct.Mode = GPIO_MODE_OUTPUT_PP;
  GPIO_InitStruct.Pull = GPIO_NOPULL;
  GPIO_InitStruct.Speed = GPIO_SPEED_FREQ_LOW;
  HAL_GPIO_Init(TP_BL_GPIO_Port, &GPIO_InitStruct);

  /*Configure GPIO pin : TFT_CS_Pin */
  GPIO_InitStruct.Pin = TFT_CS_Pin;
  GPIO_InitStruct.Mode = GPIO_MODE_OUTPUT_PP;
  GPIO_InitStruct.Pull = GPIO_NOPULL;
  GPIO_InitStruct.Speed = GPIO_SPEED_FREQ_VERY_HIGH;
  HAL_GPIO_Init(TFT_CS_GPIO_Port, &GPIO_InitStruct);

  /*Configure GPIO pin : TFT_RST_Pin */
  GPIO_InitStruct.Pin = TFT_RST_Pin;
  GPIO_InitStruct.Mode = GPIO_MODE_OUTPUT_PP;
  GPIO_InitStruct.Pull = GPIO_PULLUP;
  GPIO_InitStruct.Speed = GPIO_SPEED_FREQ_LOW;
  HAL_GPIO_Init(TFT_RST_GPIO_Port, &GPIO_InitStruct);

  /*Configure GPIO pin : TFT_DC_Pin */
  GPIO_InitStruct.Pin = TFT_DC_Pin;
  GPIO_InitStruct.Mode = GPIO_MODE_OUTPUT_PP;
  GPIO_InitStruct.Pull = GPIO_NOPULL;
  GPIO_InitStruct.Speed = GPIO_SPEED_FREQ_VERY_HIGH;
  HAL_GPIO_Init(TFT_DC_GPIO_Port, &GPIO_InitStruct);

  /*Configure GPIO pin : TP_IRQ_Pin */
  GPIO_InitStruct.Pin = TP_IRQ_Pin;
  GPIO_InitStruct.Mode = GPIO_MODE_IT_FALLING;
  GPIO_InitStruct.Pull = GPIO_PULLUP;
  HAL_GPIO_Init(TP_IRQ_GPIO_Port, &GPIO_InitStruct);

  /*Configure GPIO pin : BTN_CFG_Pin */
  GPIO_InitStruct.Pin = BTN_CFG_Pin;
  GPIO_InitStruct.Mode = GPIO_MODE_INPUT;
  GPIO_InitStruct.Pull = GPIO_PULLUP;
  HAL_GPIO_Init(BTN_CFG_GPIO_Port, &GPIO_InitStruct);

  /*Configure GPIO pins : PC8 PC9 */
  GPIO_InitStruct.Pin = GPIO_PIN_8|GPIO_PIN_9;
  GPIO_InitStruct.Mode = GPIO_MODE_AF_OD;
  GPIO_InitStruct.Pull = GPIO_NOPULL;
  GPIO_InitStruct.Speed = GPIO_SPEED_FREQ_LOW;
  GPIO_InitStruct.Alternate = GPIO_AF8_I2C3;
  HAL_GPIO_Init(GPIOC, &GPIO_InitStruct);

  /*Configure GPIO pins : PB5 PB6 */
  GPIO_InitStruct.Pin = GPIO_PIN_5|GPIO_PIN_6;
  GPIO_InitStruct.Mode = GPIO_MODE_AF_PP;
  GPIO_InitStruct.Pull = GPIO_NOPULL;
  GPIO_InitStruct.Speed = GPIO_SPEED_FREQ_LOW;
  GPIO_InitStruct.Alternate = GPIO_AF9_FDCAN2;
  HAL_GPIO_Init(GPIOB, &GPIO_InitStruct);

  /* EXTI interrupt init*/
  HAL_NVIC_SetPriority(EXTI2_IRQn, 0, 0);
  HAL_NVIC_EnableIRQ(EXTI2_IRQn);

}

void Error_Handler(void)
{
  __disable_irq();
  while (1)
  {
  }
}
